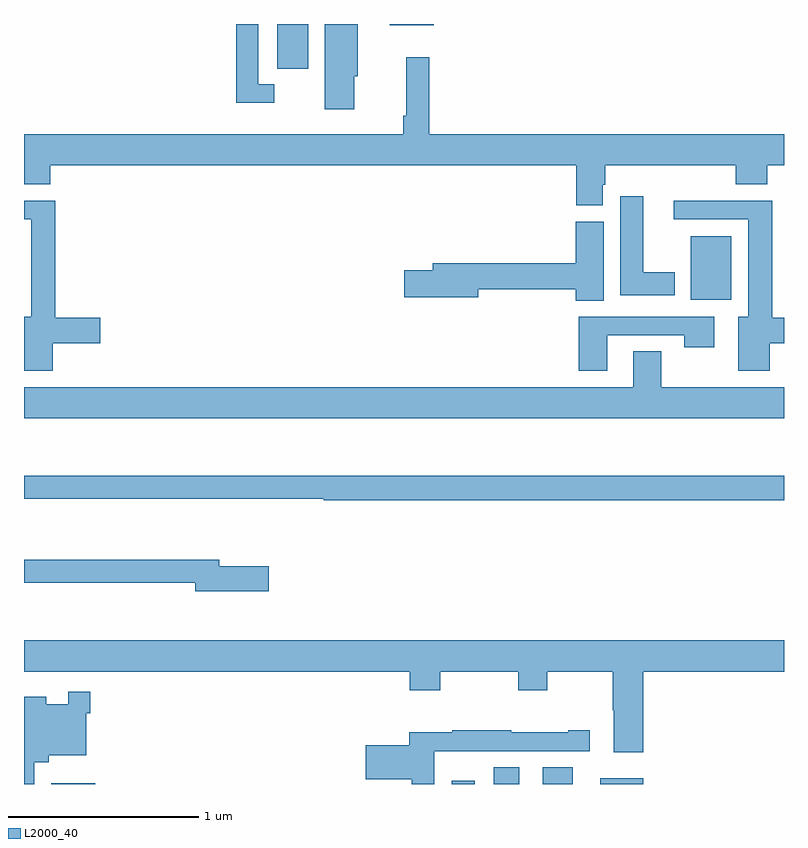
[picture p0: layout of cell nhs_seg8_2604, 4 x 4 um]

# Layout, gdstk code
import gdstk
lib = gdstk.Library(unit=1e-6, precision=1e-09)
def R(c, l, rs):  # rectangles x0, y0, x1, y1
    for r in rs: c.add(gdstk.rectangle(r[:2], r[2:], *l))
def P(c, l, *ps):  # polygons
    for p in ps: c.add(gdstk.Polygon(p, *l))
L2000_40 = (2000, 40)

nhs_seg8_2604 = lib.new_cell('nhs_seg8_2604')
R(nhs_seg8_2604, L2000_40, [(275.144,1123.9,275.376,1123.903), (277.25,1123.9,277.372,1123.918), (277.472,1123.9,277.606,1123.988), (277.73,1123.9,277.888,1123.988), (278.033,1123.9,278.26,1123.93), (278.51,1126.448,278.722,1126.783), (276.332,1127.664,276.496,1127.9), (276.926,1127.894,277.156,1127.9)])
P(nhs_seg8_2604, L2000_40, [(276.316,1127.583),(276.234,1127.583),(276.234,1127.9),(276.118,1127.9),(276.118,1127.486),(276.316,1127.486)],
  [(276.739,1127.625),(276.757,1127.625),(276.757,1127.9),(276.584,1127.9),(276.584,1127.451),(276.739,1127.451)],
  [(278.047,1127.055),(278.06,1127.055),(278.06,1127.156),(278.747,1127.156),(278.747,1127.057),(278.912,1127.057),(278.912,1127.156),(279,1127.156),(279,1127.32),(277.133,1127.32),(277.133,1127.725),(277.012,1127.725),(277.012,1127.416),(276.997,1127.416),(276.997,1127.32),(275,1127.32),(275,1127.057),(275.138,1127.057),(275.138,1127.156),(277.907,1127.156),(277.907,1126.945),(278.047,1126.945)],
  [(278.425,1126.594),(278.26,1126.594),(278.26,1126.993),(278.138,1126.993),(278.138,1126.472),(278.425,1126.472)],
  [(278.926,1126.22),(279,1126.22),(279,1126.355),(278.939,1126.355),(278.939,1126.97),(278.421,1126.97),(278.421,1126.872),(278.813,1126.872),(278.813,1126.36),(278.759,1126.36),(278.759,1126.074),(278.926,1126.074)],
  [(275.152,1126.22),(275.401,1126.22),(275.401,1126.355),(275.165,1126.355),(275.165,1126.97),(275,1126.97),(275,1126.872),(275.039,1126.872),(275.039,1126.36),(275,1126.36),(275,1126.074),(275.152,1126.074)],
  [(278.05,1126.86),(277.904,1126.86),(277.904,1126.64),(277.151,1126.64),(277.151,1126.604),(277.002,1126.604),(277.002,1126.462),(277.39,1126.462),(277.39,1126.504),(277.904,1126.504),(277.904,1126.444),(278.05,1126.444)],
  [(278.071,1126.263),(278.476,1126.263),(278.476,1126.2),(278.632,1126.2),(278.632,1126.359),(277.919,1126.359),(277.919,1126.074),(278.071,1126.074)],
  [(279,1125.988),(278.355,1125.988),(278.355,1126.178),(278.207,1126.178),(278.207,1125.988),(275,1125.988),(275,1125.824),(279,1125.824)],
  [(279,1125.523),(275,1125.523),(275,1125.402),(276.578,1125.402),(276.578,1125.394),(279,1125.394)],
  [(276.289,1125.045),(276.028,1125.045),(276.028,1125.079),(275,1125.079),(275,1124.958),(275.9,1124.958),(275.9,1124.915),(276.289,1124.915)],
  [(278.258,1124.492),(279,1124.492),(279,1124.656),(275,1124.656),(275,1124.492),(277.031,1124.492),(277.031,1124.393),(277.191,1124.393),(277.191,1124.492),(277.6,1124.492),(277.6,1124.393),(277.755,1124.393),(277.755,1124.492),(278.098,1124.492),(278.098,1124.288),(278.105,1124.288),(278.105,1124.067),(278.258,1124.067)],
  [(275.055,1124.015),(275.129,1124.015),(275.129,1124.051),(275.328,1124.051),(275.328,1124.273),(275.348,1124.273),(275.348,1124.386),(275.232,1124.386),(275.232,1124.32),(275.116,1124.32),(275.116,1124.359),(275,1124.359),(275,1123.9),(275.055,1123.9)],
  [(277.158,1124.072),(277.368,1124.072),(277.368,1124.073),(277.978,1124.073),(277.978,1124.182),(277.865,1124.182),(277.865,1124.172),(277.565,1124.172),(277.565,1124.182),(277.255,1124.182),(277.255,1124.172),(277.028,1124.172),(277.028,1124.103),(276.798,1124.103),(276.798,1123.925),(277.042,1123.925),(277.042,1123.9),(277.158,1123.9)])

lib.write_gds('nhs_seg8_2604.gds')
